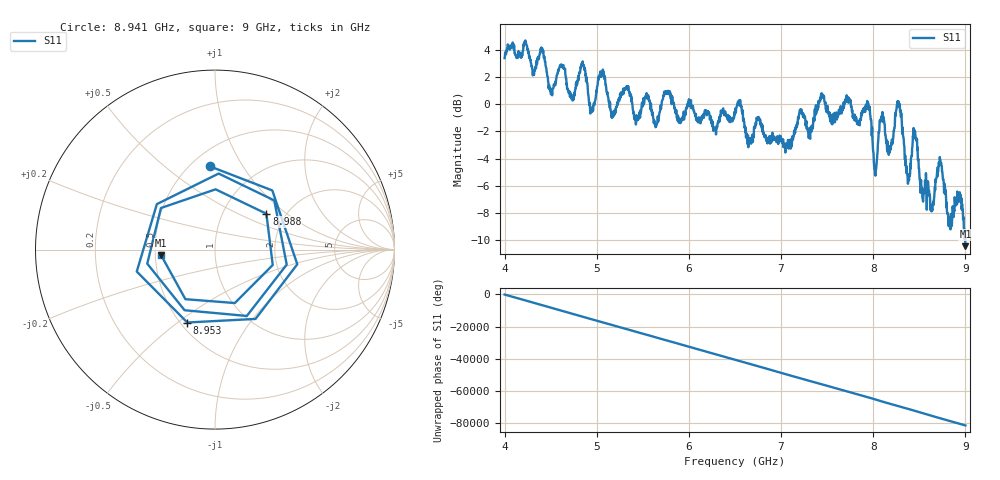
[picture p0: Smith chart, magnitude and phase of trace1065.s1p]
! Created with skrf 1.8.0 (http://scikit-rf.org).
# Hz S RI R 50.0
!freq ReS11 ImS11
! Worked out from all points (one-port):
!   1601 points, 4 GHz to 9 GHz, reference 50 ohm
!   lowest |S11| = -10.4 dB at 9 GHz (marker M1), VSWR 1.86, Z = 26.9 - j1.92 ohm
!   |S11| at or under -10 dB: 8.997795 GHz to end of sweep
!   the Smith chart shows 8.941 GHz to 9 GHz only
!   S11 on the Smith chart (normalised r, x): 8.941 GHz: 0.62, +0.73; 8.953 GHz: 0.54, -0.54; 8.988 GHz: 1.60, +0.73; 9 GHz: 0.54, -0.04
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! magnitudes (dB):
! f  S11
! 4 GHz  3.4
! 4.406 GHz  4.1
! 4.503 GHz  0.7
! 4.625 GHz  2.8
! 4.734 GHz  0.4
! 4.85 GHz  2.9
! 4.944 GHz  -0.5
! 5.05 GHz  2.0
! 5.172 GHz  -0.6
! 5.25 GHz  0.4
! 5.875 GHz  -0.8
! 6.5 GHz  -0.6
! 7.125 GHz  -2.4
! 7.75 GHz  0.1
! 7.944 GHz  0.1
! 8.022 GHz  -5.1
! 8.084 GHz  -1.0
! 8.175 GHz  -3.6
! 8.281 GHz  0.0
! 8.375 GHz  -5.8
! 8.45 GHz  -2.2
! 8.634 GHz  -7.9
! 8.725 GHz  -4.0
! 8.828 GHz  -8.8
! 8.941 GHz  -6.7
! 8.953 GHz  -7.2
! 8.988 GHz  -9.1
! 9 GHz  -10.4
